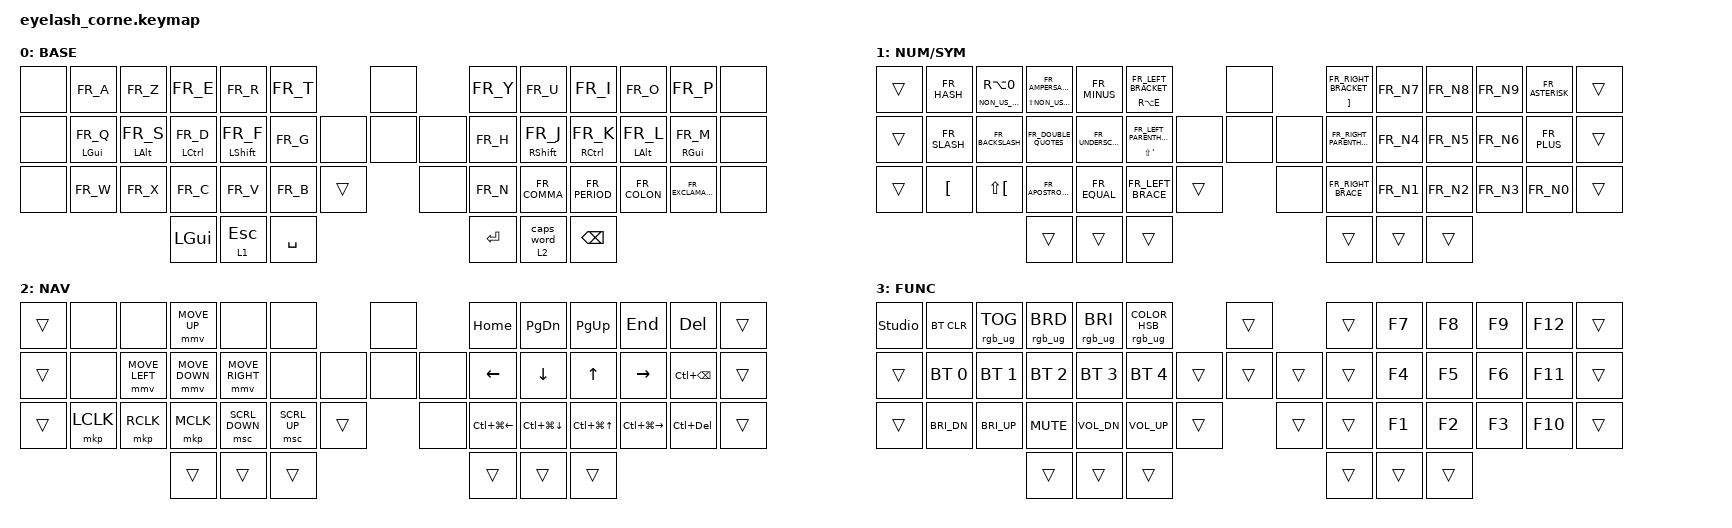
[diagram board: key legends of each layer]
#include <behaviors.dtsi>
#include <dt-bindings/zmk/bt.h>
#include <dt-bindings/zmk/keys.h>
#include <dt-bindings/zmk/pointing.h>
#include <dt-bindings/zmk/rgb.h>
#include "keys_fr.h"

/ {
    behaviors {
        // Opposite-hand keys and all thumbs can trigger a modifier.
        // Same-hand rolls stay letters; on-release allows modifier chords.

        hml: home_row_mod_left {
            compatible = "zmk,behavior-hold-tap";
            #binding-cells = <2>;
            flavor = "balanced";
            tapping-term-ms = <280>;
            require-prior-idle-ms = <150>;
            quick-tap-ms = <175>;
            bindings = <&kp>, <&kp>;

            hold-trigger-key-positions = <7 8 9 10 11 12 22 23 24 25 26 27 36 37 38 39 40 41 42 43 44 45 46 47>;
            hold-trigger-on-release;
        };

        hmr: home_row_mod_right {
            compatible = "zmk,behavior-hold-tap";
            #binding-cells = <2>;
            flavor = "balanced";
            tapping-term-ms = <250>;
            require-prior-idle-ms = <150>;
            quick-tap-ms = <175>;
            bindings = <&kp>, <&kp>;

            hold-trigger-key-positions = <0 1 2 3 4 5 13 14 15 16 17 18 28 29 30 31 32 33 42 43 44 45 46 47>;
            hold-trigger-on-release;
        };

        cwl: caps_word_layer {
            compatible = "zmk,behavior-hold-tap";
            label = "caps_word_layer";
            bindings = <&mo>, <&caps_word>;

            #binding-cells = <2>;
            tapping-term-ms = <200>;
            flavor = "tap-preferred";
        };
    };

    combos {
        compatible = "zmk,combos";

        combo_esc {
            bindings = <&kp ESC>;
            key-positions = <2 3>;
            timeout-ms = <40>;
            require-prior-idle-ms = <150>;
        };

        combo_backspace {
            bindings = <&kp BSPC>;
            key-positions = <9 10>;
            timeout-ms = <40>;
            require-prior-idle-ms = <150>;
        };

        combo_delete {
            bindings = <&kp DEL>;
            key-positions = <8 9>;
            timeout-ms = <40>;
            require-prior-idle-ms = <150>;
        };

        combo_tab_left {
            bindings = <&kp TAB>;
            key-positions = <1 2>;
            timeout-ms = <40>;
            require-prior-idle-ms = <150>;
        };

        combo_undo {
            bindings = <&kp LC(FR_Z)>;
            key-positions = <29 30>;
            timeout-ms = <40>;
            require-prior-idle-ms = <150>;
        };

        combo_e_acute {
            bindings = <&kp FR_E_ACUTE>;
            key-positions = <3 4>;
            timeout-ms = <40>;
            require-prior-idle-ms = <150>;
        };

        combo_e_grave {
            bindings = <&kp FR_E_GRAVE>;
            key-positions = <4 5>;
            timeout-ms = <40>;
            require-prior-idle-ms = <150>;
        };

        combo_a_grave {
            bindings = <&kp FR_A_GRAVE>;
            key-positions = <14 15>;
            timeout-ms = <40>;
            require-prior-idle-ms = <150>;
        };

        combo_c_cedilla {
            bindings = <&kp FR_C_CEDILLA>;
            key-positions = <31 32>;
            timeout-ms = <40>;
            require-prior-idle-ms = <150>;
        };

        combo_u_grave {
            bindings = <&kp FR_U_GRAVE>;
            key-positions = <10 11>;
            layers = <0>;
            timeout-ms = <40>;
            require-prior-idle-ms = <150>;
        };

        Pipe {
            bindings = <&kp FR_PIPE>;
            key-positions = <14 15>;
            layers = <1>;
        };

        mdp {
            bindings = <&mdp>;
            key-positions = <44 45>;
        };

        combo_tab_right {
            bindings = <&kp TAB>;
            key-positions = <7 8>;
            timeout-ms = <40>;
            require-prior-idle-ms = <150>;
        };
    };

    macros {
        mdp: new_macro {
            compatible = "zmk,behavior-macro";
            #binding-cells = <0>;
            bindings = <&kp H &kp I &kp P &kp P &kp O>;
            label = "NEW_MACRO";
        };
    };

    keymap {
        compatible = "zmk,keymap";

        /*
         * BASE
         * Host OS: French AZERTY.
         *
         * FR_* names describe the actual French AZERTY characters.
         * Their HID/US-position translation lives in keys_fr.h.
         *
         * The five central positions are the optional 5-way switch and are
         * deliberately disabled on this Corne-J.
         */

        default_layer {
            display-name = "BASE";
            bindings = <
&none  &kp FR_A        &kp FR_Z        &kp FR_E         &kp FR_R         &kp FR_T                    &none         &kp FR_Y   &kp FR_U         &kp FR_I         &kp FR_O        &kp FR_P            &none
&none  &hml LGUI FR_Q  &hml LALT FR_S  &hml LCTRL FR_D  &hml LSHFT FR_F  &kp FR_G             &none  &none  &none  &kp FR_H   &hmr RSHFT FR_J  &hmr RCTRL FR_K  &hmr LALT FR_L  &hmr RGUI FR_M      &none
&none  &kp FR_W        &kp FR_X        &kp FR_C         &kp FR_V         &kp FR_B   &trans           &none         &kp FR_N   &kp FR_COMMA     &kp FR_PERIOD    &kp FR_COLON    &kp FR_EXCLAMATION  &none
                                       &kp LGUI         &lt 1 ESC        &kp SPACE                                 &kp ENTER  &cwl 2 0         &kp BACKSPACE
            >;
        };

        /*
         * NUM/SYM
         *
         * Left hand: common programming symbols for a French AZERTY host.
         * Right hand: digits arranged as a numpad.
         *
         * FR_N0..FR_N9 include the Shift required by the French number row.
         */

        num_sym_layer {
            display-name = "NUM/SYM";
            bindings = <
&trans  &kp FR_HASH       &mt NON_US_BACKSLASH RA(N0)  &mt LS(NON_US_BACKSLASH) FR_AMPERSAND  &kp FR_MINUS       &mt RA(E) FR_LEFT_BRACKET                         &none         &mt RIGHT_BRACKET FR_RIGHT_BRACKET  &kp FR_N7  &kp FR_N8  &kp FR_N9  &kp FR_ASTERISK  &trans
&trans  &kp FR_SLASH      &kp FR_BACKSLASH             &kp FR_DOUBLE_QUOTES                   &kp FR_UNDERSCORE  &mt LS(SQT) FR_LEFT_PARENTHESIS            &none  &none  &none  &kp FR_RIGHT_PARENTHESIS            &kp FR_N4  &kp FR_N5  &kp FR_N6  &kp FR_PLUS      &trans
&trans  &kp LEFT_BRACKET  &kp LS(LEFT_BRACKET)         &kp FR_APOSTROPHE                      &kp FR_EQUAL       &kp FR_LEFT_BRACE                &trans           &none         &kp FR_RIGHT_BRACE                  &kp FR_N1  &kp FR_N2  &kp FR_N3  &kp FR_N0        &trans
                                                       &trans                                 &trans             &trans                                                          &trans                              &trans     &trans
            >;
        };

        /*
         * NAV
         * Vim-like navigation on the right home row:
         * H J K L = Left Down Up Right.
         */

        nav_layer {
            display-name = "NAV";
            bindings = <
&trans  &none      &none           &mmv MOVE_UP    &none            &none                          &none         &kp HOME                &kp PG_DN         &kp PG_UP       &kp END            &kp DEL            &trans
&trans  &none      &mmv MOVE_LEFT  &mmv MOVE_DOWN  &mmv MOVE_RIGHT  &none                   &none  &none  &none  &kp LEFT                &kp DOWN          &kp UP          &kp RIGHT          &kp LC(BACKSPACE)  &trans
&trans  &mkp LCLK  &mkp RCLK       &mkp MCLK       &msc SCRL_DOWN   &msc SCRL_UP  &trans           &none         &kp LC(LG(LEFT_ARROW))  &kp LC(LG(DOWN))  &kp LC(LG(UP))  &kp LC(LG(RIGHT))  &kp LC(DEL)        &trans
                                   &trans          &trans           &trans                                       &trans                  &trans            &trans
            >;
        };

        FUNC {
            bindings = <
&studio_unlock  &bt BT_CLR    &rgb_ug RGB_TOG  &rgb_ug RGB_BRD  &rgb_ug RGB_BRI  &rgb_ug RGB_COLOR_HSB(0,0,100)                    &trans          &trans  &kp F7  &kp F8  &kp F9  &kp F12  &trans
&trans          &bt BT_SEL 0  &bt BT_SEL 1     &bt BT_SEL 2     &bt BT_SEL 3     &bt BT_SEL 4                              &trans  &trans  &trans  &trans  &kp F4  &kp F5  &kp F6  &kp F11  &trans
&trans          &kp C_BRI_DN  &kp C_BRI_UP     &kp C_MUTE       &kp C_VOL_DN     &kp C_VOL_UP                    &trans            &trans          &trans  &kp F1  &kp F2  &kp F3  &kp F10  &trans
                                               &trans           &trans           &trans                                                            &trans  &trans  &trans
            >;
        };
    };

    conditional_layers {
        compatible = "zmk,conditional-layers";

        Functions {
            if-layers = <1 2>;
            then-layer = <3>;
        };
    };
};
